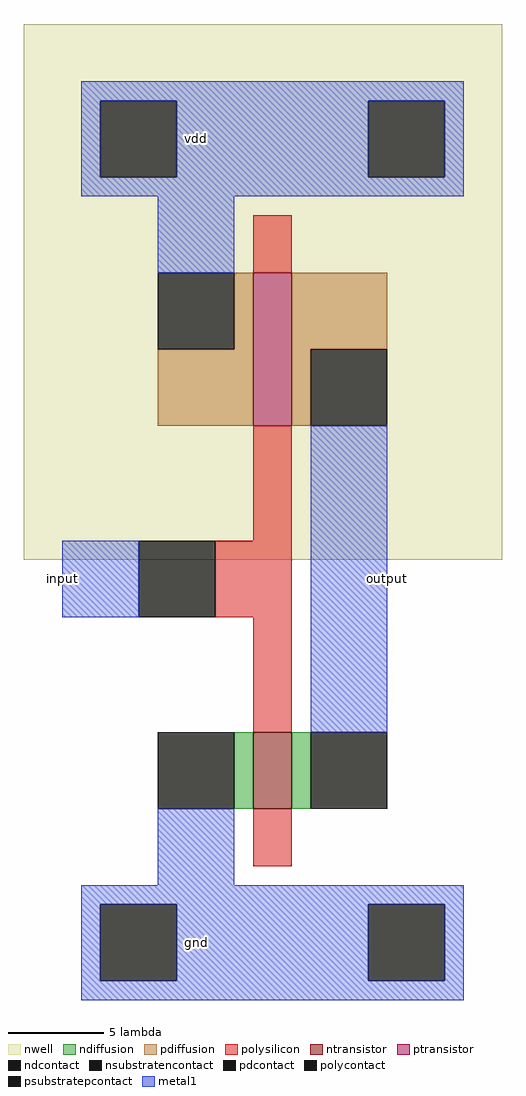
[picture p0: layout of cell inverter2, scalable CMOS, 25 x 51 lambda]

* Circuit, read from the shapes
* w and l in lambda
.subckt inverter2 gnd input output vdd
M1 output input gnd gnd nfet w=4 l=2
M2 output input vdd vdd pfet w=8 l=2
.ends

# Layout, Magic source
magic
tech scmos
<< nwell >>
rect -3 -7 22 21
<< ntransistor >>
rect 9 -20 11 -16
<< ptransistor >>
rect 9 0 11 8
<< ndiffusion >>
rect 8 -20 9 -16
rect 11 -20 12 -16
<< pdiffusion >>
rect 8 4 9 8
rect 4 0 9 4
rect 11 4 16 8
rect 11 0 12 4
<< ndcontact >>
rect 4 -20 8 -16
rect 12 -20 16 -16
<< pdcontact >>
rect 4 4 8 8
rect 12 0 16 4
<< psubstratepcontact >>
rect 1 -29 5 -25
rect 15 -29 19 -25
<< nsubstratencontact >>
rect 1 13 5 17
rect 15 13 19 17
<< polysilicon >>
rect 9 8 11 11
rect 9 -6 11 0
rect 7 -10 11 -6
rect 9 -16 11 -10
rect 9 -23 11 -20
<< polycontact >>
rect 3 -10 7 -6
<< metal1 >>
rect 0 17 20 18
rect 0 13 1 17
rect 5 13 15 17
rect 19 13 20 17
rect 0 12 20 13
rect 4 8 8 12
rect -1 -10 3 -6
rect 12 -16 16 0
rect 4 -24 8 -20
rect 0 -25 20 -24
rect 0 -29 1 -25
rect 5 -29 15 -25
rect 19 -29 20 -25
rect 0 -30 20 -29
<< labels >>
rlabel metal1 6 -27 6 -27 1 gnd
rlabel metal1 -1 -8 -1 -8 3 input
rlabel metal1 16 -8 16 -8 7 output
rlabel metal1 6 15 6 15 5 vdd
<< end >>
